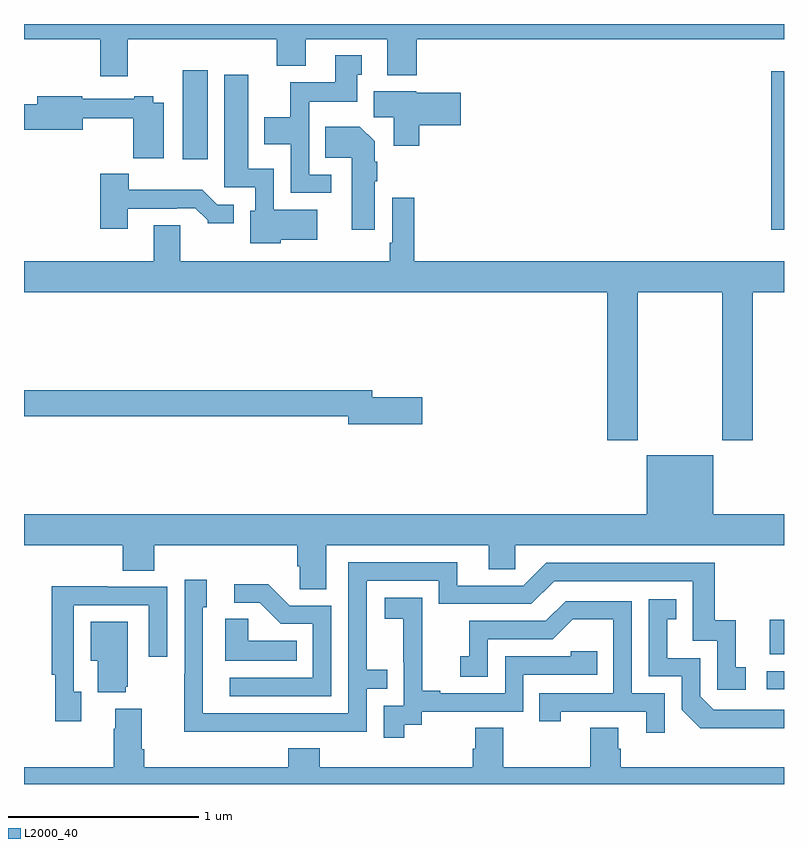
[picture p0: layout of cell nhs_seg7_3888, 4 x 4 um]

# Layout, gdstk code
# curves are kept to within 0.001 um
import gdstk
lib = gdstk.Library(unit=1e-6, precision=1e-09)
def R(c, l, rs):  # rectangles x0, y0, x1, y1
    for r in rs: c.add(gdstk.rectangle(r[:2], r[2:], *l))
def P(c, l, *ps):  # polygons
    for p in ps: c.add(gdstk.Polygon(p, *l))
L2000_40 = (2000, 40)

nhs_seg7_3888 = lib.new_cell('nhs_seg7_3888')
R(nhs_seg7_3888, L2000_40, [(360.909,1026.498,361,1026.594), (360.926,1026.683,361,1026.865), (360.932,1028.916,361,1029.751), (357.836,1029.288,357.967,1029.757)])
P(nhs_seg7_3888, L2000_40, [(357.547,1029.92),(358.331,1029.92),(358.331,1029.779),(358.483,1029.779),(358.483,1029.92),(358.913,1029.92),(358.913,1029.731),(359.066,1029.731),(359.066,1029.92),(361,1029.92),(361,1030),(357,1030),(357,1029.92),(357.4,1029.92),(357.4,1029.726),(357.547,1029.726)],
  [(358.618,1029.207),(358.5,1029.207),(358.5,1029.59),(358.753,1029.59),(358.753,1029.732),(358.777,1029.732),(358.777,1029.835),(358.637,1029.835),(358.637,1029.694),(358.402,1029.694),(358.402,1029.508),(358.265,1029.508),(358.265,1029.368),(358.404,1029.368),(358.404,1029.111),(358.618,1029.111)],
  [(358.35,1028.864),(358.543,1028.864),(358.543,1029.022),(358.314,1029.022),(358.314,1029.238),(358.18,1029.238),(358.18,1029.733),(358.055,1029.733),(358.055,1029.141),(358.218,1029.141),(358.218,1029.018),(358.19,1029.018),(358.19,1028.846),(358.35,1028.846)],
  [(359.081,1029.467),(359.299,1029.467),(359.299,1029.637),(359.064,1029.637),(359.064,1029.646),(358.841,1029.646),(358.841,1029.508),(358.946,1029.508),(358.946,1029.36),(359.081,1029.36)],
  [(357.736,1029.586),(357.681,1029.586),(357.681,1029.619),(357.581,1029.619),(357.581,1029.606),(357.306,1029.606),(357.306,1029.619),(357.071,1029.619),(357.071,1029.577),(357,1029.577),(357,1029.443),(357.31,1029.443),(357.31,1029.505),(357.574,1029.505),(357.574,1029.293),(357.736,1029.293)],
  [(358.846,1029.172),(358.859,1029.172),(358.859,1029.275),(358.846,1029.275),(358.846,1029.382),(358.768,1029.46),(358.585,1029.46),(358.585,1029.296),(358.724,1029.296),(358.724,1028.916),(358.846,1028.916)],
  [(357.547,1029.027),(357.803,1029.027),(357.803,1029.03),(357.902,1029.03),(357.966,1028.966),(357.966,1028.951),(358.105,1028.951),(358.105,1029.048),(358.017,1029.048),(357.939,1029.127),(357.55,1029.127),(357.55,1029.211),(357.4,1029.211),(357.4,1028.922),(357.547,1028.922)],
  [(360.231,1028.588),(360.676,1028.588),(360.676,1027.809),(360.836,1027.809),(360.836,1028.588),(361,1028.588),(361,1028.752),(359.054,1028.752),(359.054,1029.085),(358.938,1029.085),(358.938,1028.848),(358.926,1028.848),(358.926,1028.752),(357.823,1028.752),(357.823,1028.942),(357.683,1028.942),(357.683,1028.752),(357,1028.752),(357,1028.588),(360.071,1028.588),(360.071,1027.809),(360.231,1027.809)],
  [(359.095,1028.036),(358.834,1028.036),(358.834,1028.072),(357,1028.072),(357,1027.936),(358.706,1027.936),(358.706,1027.894),(359.095,1027.894)],
  [(358.591,1027.256),(359.447,1027.256),(359.447,1027.129),(359.586,1027.129),(359.586,1027.256),(361,1027.256),(361,1027.42),(360.628,1027.42),(360.628,1027.729),(360.278,1027.729),(360.278,1027.42),(357,1027.42),(357,1027.256),(357.521,1027.256),(357.521,1027.123),(357.686,1027.123),(357.686,1027.256),(358.439,1027.256),(358.439,1027.147),(358.452,1027.147),(358.452,1027.024),(358.591,1027.024)],
  [(358.307,1026.276),(358.803,1026.276),(358.803,1026.501),(358.913,1026.501),(358.913,1026.602),(358.803,1026.602),(358.803,1027.071),(359.184,1027.071),(359.184,1026.948),(359.67,1026.948),(359.79,1027.068),(360.519,1027.068),(360.519,1026.753),(360.648,1026.753),(360.648,1026.495),(360.799,1026.495),(360.799,1026.615),(360.746,1026.615),(360.746,1026.862),(360.635,1026.862),(360.635,1027.164),(359.748,1027.164),(359.628,1027.044),(359.281,1027.044),(359.281,1027.167),(358.707,1027.167),(358.707,1026.372),(357.942,1026.372),(357.942,1026.93),(357.961,1026.93),(357.961,1027.075),(357.846,1027.075),(357.846,1026.581),(357.844,1026.581),(357.844,1026.275)],
  [(358.617,1026.939),(358.398,1026.939),(358.285,1027.052),(358.107,1027.052),(358.107,1026.954),(358.241,1026.954),(358.352,1026.843),(358.521,1026.843),(358.521,1026.558),(358.083,1026.558),(358.083,1026.462),(358.617,1026.462)],
  [(357.301,1026.486),(357.261,1026.486),(357.261,1026.942),(357.657,1026.942),(357.657,1026.669),(357.753,1026.669),(357.753,1027.038),(357.437,1027.038),(357.437,1027.04),(357.145,1027.04),(357.145,1026.574),(357.164,1026.574),(357.164,1026.33),(357.301,1026.33)],
  [(359.002,1026.313),(359.094,1026.313),(359.094,1026.381),(359.628,1026.381),(359.628,1026.576),(360.017,1026.576),(360.017,1026.699),(359.877,1026.699),(359.877,1026.672),(359.532,1026.672),(359.532,1026.477),(359.191,1026.477),(359.191,1026.49),(359.096,1026.49),(359.096,1026.773),(359.097,1026.773),(359.097,1026.979),(358.899,1026.979),(358.899,1026.869),(358.997,1026.869),(358.997,1026.641),(358.998,1026.641),(358.998,1026.411),(358.893,1026.411),(358.893,1026.243),(359.002,1026.243)],
  [(360.968,1026.294),(361,1026.294),(361,1026.39),(360.63,1026.39),(360.558,1026.462),(360.558,1026.663),(360.385,1026.663),(360.385,1026.867),(360.434,1026.867),(360.434,1026.973),(360.288,1026.973),(360.288,1026.567),(360.462,1026.567),(360.462,1026.39),(360.56,1026.293)],
  [(360.372,1026.477),(360.198,1026.477),(360.198,1026.963),(359.852,1026.963),(359.747,1026.858),(359.344,1026.858),(359.344,1026.673),(359.295,1026.673),(359.295,1026.564),(359.442,1026.564),(359.442,1026.762),(359.784,1026.762),(359.888,1026.866),(360.102,1026.866),(360.102,1026.477),(359.713,1026.477),(359.713,1026.33),(359.824,1026.33),(359.824,1026.381),(360.275,1026.381),(360.275,1026.27),(360.372,1026.27)],
  [(358.436,1026.754),(358.179,1026.754),(358.179,1026.869),(358.058,1026.869),(358.058,1026.65),(358.436,1026.65)],
  [(357.536,1026.513),(357.547,1026.513),(357.547,1026.853),(357.35,1026.853),(357.35,1026.65),(357.389,1026.65),(357.389,1026.482),(357.536,1026.482)],
  [(361,1026.088),(360.14,1026.088),(360.14,1026.186),(360.127,1026.186),(360.127,1026.296),(359.98,1026.296),(359.98,1026.088),(359.523,1026.088),(359.523,1026.296),(359.375,1026.296),(359.375,1026.186),(359.363,1026.186),(359.363,1026.088),(358.556,1026.088),(358.556,1026.187),(358.391,1026.187),(358.391,1026.088),(357.632,1026.088),(357.632,1026.184),(357.619,1026.184),(357.619,1026.397),(357.479,1026.397),(357.479,1026.29),(357.472,1026.29),(357.472,1026.088),(357,1026.088),(357,1026),(361,1026)])

lib.write_gds('nhs_seg7_3888.gds')
